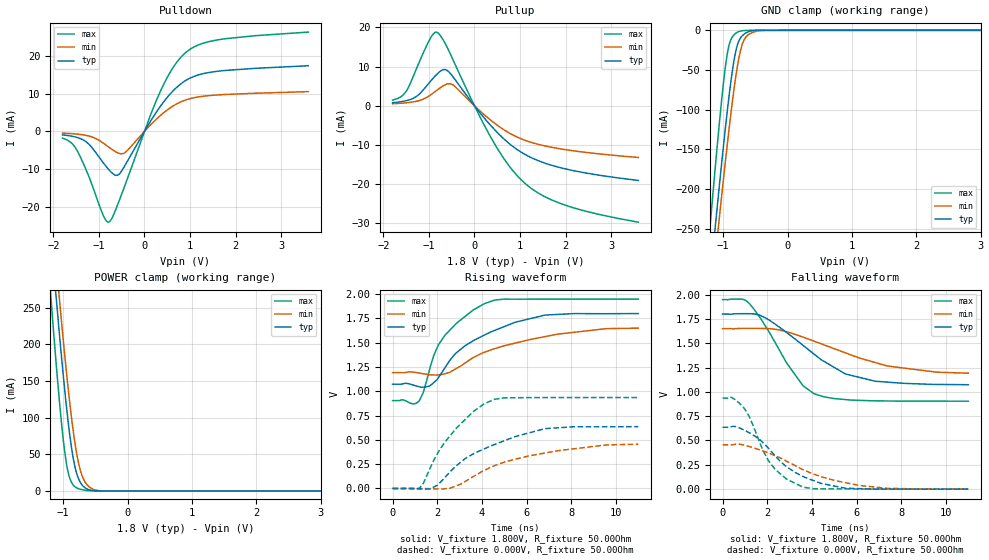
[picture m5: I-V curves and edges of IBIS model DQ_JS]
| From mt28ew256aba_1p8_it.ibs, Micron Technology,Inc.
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|   Model DQ_JS
[Model]   DQ_JS
Model_type   I/O
Vinl   = 0.800V
Vinh   = 1.260V
Vmeas  = 0.900V
|   typ   min   max
C_comp   4.086pF   3.586pF   4.586pF
[Voltage Range]   1.800V   1.650V   1.950V
| Junction Temperature (Ambient temp is 35C typ, 85C min, -40C max)
[Temperature Range]   50.0   100.0   -40.0
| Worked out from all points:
|   slope of the pulldown table from 0 to 0.27 V, typ, clamps not added: 51.2 ohm
|   slope of the pullup table from 0 to 0.27 V, typ, clamps not added: 70.2 ohm
|   GND clamp passes 1 mA (typ) near -0.58 V on its own axis
|   POWER clamp passes 1 mA (typ) near -0.57 V on its own axis
|   falling waveform, V_fixture 1.800V, R_fixture 50.00Ohm: 20-80 % time 2.63ns typ, 3.46ns min, 1.7ns max; typ from 1.8 V to 1.07 V
|   rising waveform, V_fixture 1.800V, R_fixture 50.00Ohm: 20-80 % time 2.59ns typ, 3.52ns min, 1.55ns max; typ from 1.07 V to 1.8 V
|   rising waveform, V_fixture 0.000V, R_fixture 50.00Ohm: 20-80 % time 2.8ns typ, 3.42ns min, 1.78ns max; typ from 0 V to 0.636 V
|   falling waveform, V_fixture 0.000V, R_fixture 50.00Ohm: 20-80 % time 1.96ns typ, 2.84ns min, 1.24ns max; typ from 0.636 V to 0 V
[Pulldown]
|   Voltage   I(typ)   I(min)   I(max)
-1.8V     -949.4uA   -483.4uA   -1.803mA
-1.471V   -1.664mA   -740.9uA   -5.333mA
-1.217V   -3.468mA   -1.266mA   -12.18mA
-914.4mV  -8.218mA   -3.047mA   -22.1mA
-774mV    -10.32mA   -4.287mA   -24.06mA
-633.6mV  -11.67mA   -5.428mA   -20.86mA
-525.6mV  -10.95mA   -5.95mA    -17.47mA
354.6mV   6.743mA    4.266mA    10.77mA
640.8mV   10.92mA    6.829mA    17.19mA
889.2mV   13.39mA    8.27mA     20.77mA
1.624V    15.99mA    9.683mA    24.33mA
3.6V      17.43mA    10.55mA    26.37mA
[GND Clamp]
|   Voltage   I(typ)   I(min)   I(max)
-1.8V     -842.9mA   -854.1mA   -830mA
-1.206V   -317.7mA   -353.2mA   -249.7mA
-1.109V   -236.3mA   -275.3mA   -160.6mA
-1.06V    -196.8mA   -237.3mA   -118.2mA
-990mV    -142mA     -183.8mA   -62.63mA
-930.6mV  -98.21mA   -140.4mA   -27.04mA
-844.2mV  -44.25mA   -82.25mA   -7.024mA
-779.4mV  -18.59mA   -45.67mA   -2.41mA
-725.4mV  -8.926mA   -23.92mA   -853.7uA
-655.2mV  -3.803mA   -9.398mA   -193.2uA
-439.2mV  -19.93uA   -463.9uA   -249.3nA
3.6V      0A         0A         0A
[Pullup]
|   Voltage   I(typ)   I(min)   I(max)
-1.8V     812uA      537uA      1.464mA
-1.498V   1.33mA     787.3uA    3.749mA
-1.249V   2.639mA    1.249mA    10.18mA
-968.4mV  6.251mA    2.76mA     17.24mA
-801mV    8.35mA     4.213mA    18.6mA
-639mV    9.245mA    5.398mA    15.81mA
-482.4mV  7.564mA    5.409mA    12.02mA
365.4mV   -5.121mA   -3.738mA   -8.156mA
754.2mV   -9.522mA   -6.863mA   -15.21mA
1.057V    -12.03mA   -8.545mA   -19.2mA
1.931V    -15.89mA   -11.05mA   -25.08mA
3.6V      -19.03mA   -13.17mA   -29.67mA
[POWER Clamp]
|   Voltage   I(typ)   I(min)   I(max)
-1.8V     1.045A     1.064A     1.019A
-1.206V   367mA      411mA      282.1mA
-1.179V   338.1mA    383.2mA    251.5mA
-1.109V   264.8mA    311.9mA    174.1mA
-1.06V    216.2mA    264.2mA    124.6mA
-995.4mV  155.4mA    203.4mA    67.7mA
-952.2mV  118.1mA    165.2mA    39.31mA
-871.2mV  59.75mA    100.9mA    11.84mA
-795.6mV  25.59mA    54.04mA    4.438mA
-676.8mV  5.491mA    14.9mA     1.146mA
-460.8mV  118.3uA    578.3uA    13.88uA
3.6V      0A         0A         0A
[Ramp]
R_load = 50.00Ohm
|   typ   min   max
dV/dt_r   381.771mV/2.803ns   273.424mV/3.423ns   561.119mV/1.784ns
dV/dt_f   435.909mV/2.634ns   274.914mV/3.459ns   626.955mV/1.702ns
[Falling Waveform]
V_fixture = 1.800V
V_fixture_min = 1.650V
V_fixture_max = 1.950V
R_fixture = 50.00Ohm
|   Time   V(typ)   V(min)   V(max)
0s        1.8V       1.65V      1.949V
920ps     1.804V     1.653V     1.951V
1.19ns    1.804V     1.653V     1.911V
2ns       1.751V     1.651V     1.647V
2.86ns    1.611V     1.618V     1.3V
3.6ns     1.479V     1.563V     1.063V
4.1ns     1.388V     1.521V     980.5mV
5.49ns    1.185V     1.402V     921.2mV
6.83ns    1.109V     1.302V     907.9mV
11ns      1.073V     1.192V     904.2mV
[Rising Waveform]
V_fixture = 1.800V
V_fixture_min = 1.650V
V_fixture_max = 1.950V
R_fixture = 50.00Ohm
|   Time   V(typ)   V(min)   V(max)
0s        1.073V     1.192V     904.2mV
1.19ns    1.047V     1.188V     898.8mV
1.37ns    1.043V     1.181V     985.1mV
1.67ns    1.056V     1.17V      1.236V
2.06ns    1.143V     1.17V      1.481V
2.83ns    1.392V     1.231V     1.693V
4.1ns     1.578V     1.401V     1.901V
4.97ns    1.664V     1.467V     1.948V
6.83ns    1.785V     1.563V     1.949V
11ns      1.8V       1.65V      1.949V
[Rising Waveform]
V_fixture = 0.000V
V_fixture_min = 0.000V
V_fixture_max = 0.000V
R_fixture = 50.00Ohm
|   Time   V(typ)   V(min)   V(max)
0s        9.576uV    5.818uV    1mV
1.19ns    -2.851mV   411.9uV    -550.5uV
1.37ns    -4.874mV   -353.6uV   50.63mV
1.99ns    31.07mV    -4.025mV   351.7mV
2.86ns    236mV      28.4mV     621.8mV
3.61ns    355.8mV    122.3mV    791mV
4.56ns    452.4mV    234.6mV    917.8mV
6.83ns    616.3mV    365.4mV    935.9mV
9.57ns    634.9mV    448.6mV    936.3mV
11ns      636.3mV    455.7mV    936.2mV
[Falling Waveform]
V_fixture = 0.000V
V_fixture_min = 0.000V
V_fixture_max = 0.000V
R_fixture = 50.00Ohm
|   Time   V(typ)   V(min)   V(max)
0s        636.3mV    455.7mV    936.2mV
410ps     642.4mV    455.4mV    941.3mV
920ps     612.3mV    454.8mV    843.7mV
1.19ns    580.4mV    438.3mV    747mV
2.06ns    418.4mV    371.5mV    289.8mV
2.86ns    231.2mV    287.8mV    103.4mV
3.6ns     130.4mV    199.9mV    20.29mV
4.41ns    58.78mV    128.6mV    2.996mV
6.1ns     5.272mV    38.38mV    1.526mV
11ns      9.576uV    5.818uV    1mV
